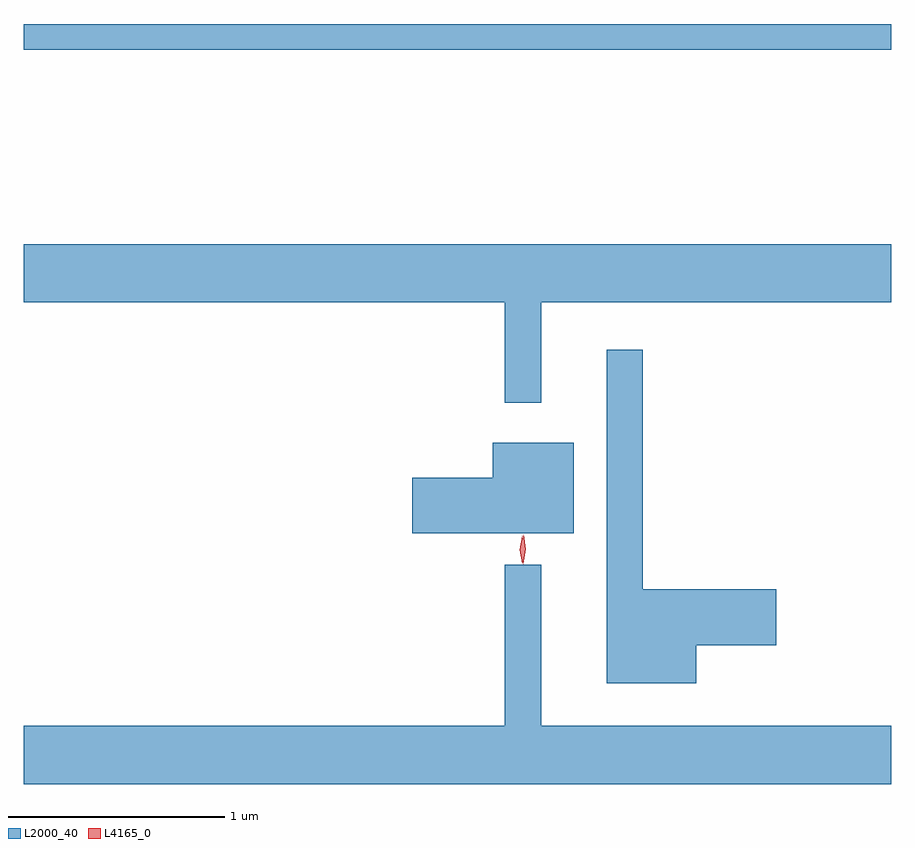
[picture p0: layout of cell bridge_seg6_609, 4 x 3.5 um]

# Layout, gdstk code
import gdstk
lib = gdstk.Library(unit=1e-6, precision=1e-09)
def R(c, l, rs):  # rectangles x0, y0, x1, y1
    for r in rs: c.add(gdstk.rectangle(r[:2], r[2:], *l))
def P(c, l, *ps):  # polygons
    for p in ps: c.add(gdstk.Polygon(p, *l))
L2000_40 = (2000, 40)
L4165_0 = (4165, 0)

bridge_seg6_609 = lib.new_cell('bridge_seg6_609')
R(bridge_seg6_609, L2000_40, [(198.704,1611.141,202.704,1611.26)])
P(bridge_seg6_609, L2000_40, [(201.089,1609.976),(202.704,1609.976),(202.704,1610.244),(198.704,1610.244),(198.704,1609.976),(200.921,1609.976),(200.921,1609.513),(201.089,1609.513)],
  [(201.804,1608.396),(202.174,1608.396),(202.174,1608.654),(201.559,1608.654),(201.559,1609.758),(201.391,1609.758),(201.391,1608.221),(201.804,1608.221)],
  [(201.239,1609.329),(200.866,1609.329),(200.866,1609.169),(200.496,1609.169),(200.496,1608.911),(201.239,1608.911)],
  [(202.704,1608.024),(201.089,1608.024),(201.089,1608.768),(200.921,1608.768),(200.921,1608.024),(198.704,1608.024),(198.704,1607.756),(202.704,1607.756)])
P(bridge_seg6_609, L4165_0, [(201.007,1608.77),(200.999,1608.838),(201.009,1608.906),(201.009,1608.906),(201.01,1608.906),(201.018,1608.838),(201.008,1608.77),(201.008,1608.77)],
  [(201.002,1608.773),(201.002,1608.773),(200.992,1608.836),(201.002,1608.899),(201.002,1608.9),(201.003,1608.899),(201.012,1608.836),(201.003,1608.773)])

lib.write_gds('bridge_seg6_609.gds')
